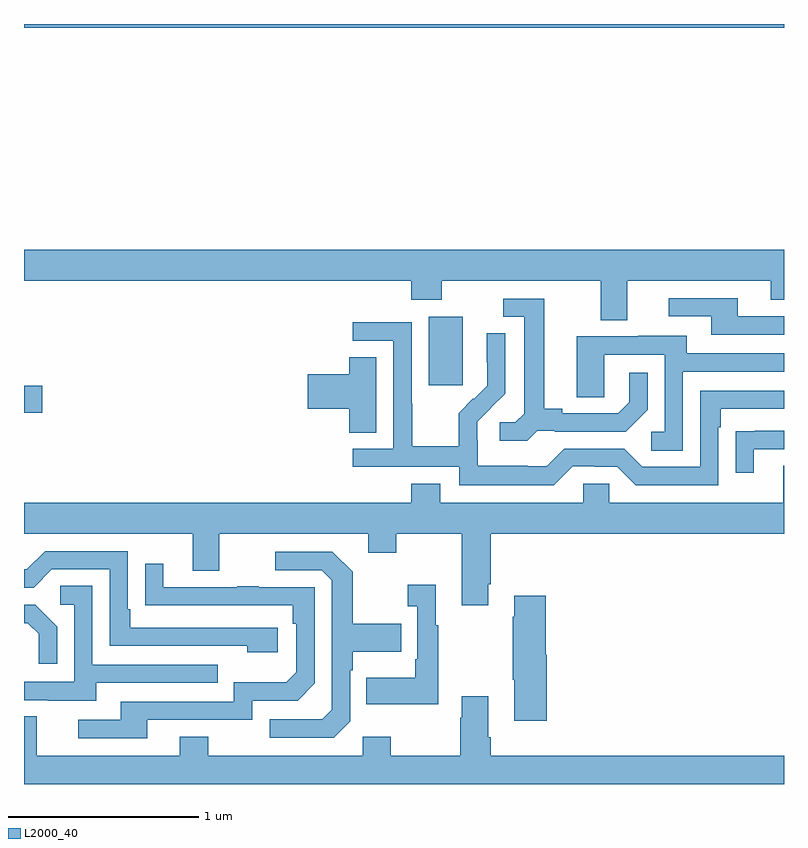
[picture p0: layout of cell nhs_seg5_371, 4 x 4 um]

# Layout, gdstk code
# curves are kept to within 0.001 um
import gdstk
lib = gdstk.Library(unit=1e-6, precision=1e-09)
def R(c, l, rs):  # rectangles x0, y0, x1, y1
    for r in rs: c.add(gdstk.rectangle(r[:2], r[2:], *l))
def P(c, l, *ps):  # polygons
    for p in ps: c.add(gdstk.Polygon(p, *l))
L2000_40 = (2000, 40)

nhs_seg5_371 = lib.new_cell('nhs_seg5_371')
R(nhs_seg5_371, L2000_40, [(135,834.754,135.097,834.896), (137.129,834.897,137.308,835.258), (135,836.78,139,836.799)])
P(nhs_seg5_371, L2000_40, [(138.175,835.448),(138.929,835.448),(138.929,835.349),(139,835.349),(139,835.612),(135,835.612),(135,835.448),(137.039,835.448),(137.039,835.349),(137.199,835.349),(137.199,835.448),(138.035,835.448),(138.035,835.24),(138.175,835.24)],
  [(139,835.26),(138.757,835.26),(138.757,835.356),(138.393,835.356),(138.393,835.26),(138.617,835.26),(138.617,835.164),(139,835.164)],
  [(137.7,834.657),(137.794,834.657),(137.794,834.654),(138.166,834.654),(138.282,834.77),(138.282,834.964),(138.185,834.964),(138.185,834.807),(138.128,834.75),(137.833,834.75),(137.833,834.773),(137.737,834.773),(137.737,835.353),(137.523,835.353),(137.523,835.257),(137.633,835.257),(137.633,834.749),(137.586,834.702),(137.505,834.702),(137.505,834.605),(137.648,834.605)],
  [(137.889,834.471),(138.005,834.471),(138.005,834.468),(138.123,834.468),(138.219,834.372),(138.654,834.372),(138.654,834.677),(138.667,834.677),(138.667,834.774),(139,834.774),(139,834.87),(138.558,834.87),(138.558,834.468),(138.255,834.468),(138.159,834.564),(137.844,834.564),(137.751,834.471),(137.651,834.471),(137.651,834.475),(137.388,834.475),(137.388,834.609),(137.386,834.609),(137.386,834.706),(137.532,834.854),(137.532,835.172),(137.436,835.172),(137.436,835.018),(137.438,835.018),(137.438,834.896),(137.367,834.825),(137.364,834.828),(137.287,834.751),(137.287,834.577),(137.043,834.577),(137.043,834.8),(137.04,834.8),(137.04,835.23),(136.731,835.23),(136.731,835.131),(136.944,835.131),(136.944,834.564),(136.731,834.564),(136.731,834.468),(137.292,834.468),(137.292,834.371),(137.789,834.371)],
  [(138.468,834.969),(139,834.969),(139,835.065),(138.487,835.065),(138.487,835.159),(138.233,835.159),(138.233,835.155),(137.909,835.155),(137.909,834.835),(138.054,834.835),(138.054,835.059),(138.372,835.059),(138.372,834.654),(138.3,834.654),(138.3,834.553),(138.468,834.553)],
  [(136.855,835.046),(136.712,835.046),(136.712,834.956),(136.494,834.956),(136.494,834.773),(136.712,834.773),(136.712,834.649),(136.855,834.649)],
  [(138.841,834.561),(139,834.561),(139,834.657),(138.847,834.657),(138.847,834.656),(138.745,834.656),(138.745,834.438),(138.841,834.438)],
  [(139,834.475),(138.995,834.475),(138.995,834.28),(138.081,834.28),(138.081,834.378),(137.943,834.378),(137.943,834.28),(137.191,834.28),(137.191,834.379),(137.039,834.379),(137.039,834.28),(135,834.28),(135,834.116),(135.887,834.116),(135.887,833.922),(136.027,833.922),(136.027,834.116),(136.811,834.116),(136.811,834.017),(136.959,834.017),(136.959,834.116),(137.303,834.116),(137.303,833.739),(137.443,833.739),(137.443,833.851),(137.456,833.851),(137.456,834.116),(139,834.116)],
  [(136.336,833.622),(135.559,833.622),(135.559,833.719),(135.546,833.719),(135.546,834.024),(135.111,834.024),(135.015,833.928),(135,833.928),(135,833.832),(135.051,833.832),(135.147,833.928),(135.45,833.928),(135.45,833.526),(136.175,833.526),(136.175,833.492),(136.336,833.492)],
  [(136.716,833.13),(136.716,833.399),(136.729,833.399),(136.729,833.495),(136.985,833.495),(136.985,833.643),(136.729,833.643),(136.729,833.915),(136.623,834.021),(136.323,834.021),(136.323,833.925),(136.566,833.925),(136.62,833.871),(136.62,833.19),(136.569,833.139),(136.293,833.139),(136.293,833.043),(136.629,833.043)],
  [(135.649,833.136),(136.2,833.136),(136.2,833.238),(136.44,833.238),(136.53,833.328),(136.53,833.835),(136.235,833.835),(136.235,833.84),(136.123,833.84),(136.123,833.835),(135.733,833.835),(135.733,833.959),(135.637,833.959),(135.637,833.74),(136.414,833.739),(136.414,833.642),(136.434,833.642),(136.434,833.388),(136.381,833.335),(136.104,833.335),(136.104,833.232),(135.509,833.232),(135.509,833.136),(135.285,833.136),(135.285,833.04),(135.649,833.04)],
  [(137.179,833.635),(137.167,833.635),(137.167,833.848),(137.019,833.848),(137.019,833.735),(137.07,833.735),(137.07,833.455),(137.058,833.455),(137.058,833.359),(136.801,833.359),(136.801,833.219),(137.179,833.219)],
  [(135.379,833.331),(136.019,833.331),(136.019,833.427),(135.36,833.427),(135.36,833.843),(135.192,833.843),(135.192,833.742),(135.264,833.742),(135.264,833.337),(135,833.337),(135,833.241),(135.125,833.241),(135.125,833.237),(135.379,833.237)],
  [(137.752,833.478),(137.747,833.478),(137.747,833.791),(137.579,833.791),(137.579,833.678),(137.572,833.678),(137.572,833.347),(137.579,833.347),(137.579,833.132),(137.752,833.132)],
  [(135.174,833.626),(135.058,833.742),(135,833.742),(135,833.646),(135.02,833.646),(135.077,833.589),(135.077,833.433),(135.174,833.433)],
  [(139,832.948),(137.456,832.948),(137.456,833.044),(137.443,833.044),(137.443,833.26),(137.303,833.26),(137.303,833.147),(137.296,833.147),(137.296,832.948),(136.929,832.948),(136.929,833.047),(136.782,833.047),(136.782,832.948),(135.969,832.948),(135.969,833.047),(135.821,833.047),(135.821,832.948),(135.067,832.948),(135.067,833.156),(135,833.156),(135,832.799),(139,832.799)])

lib.write_gds('nhs_seg5_371.gds')
